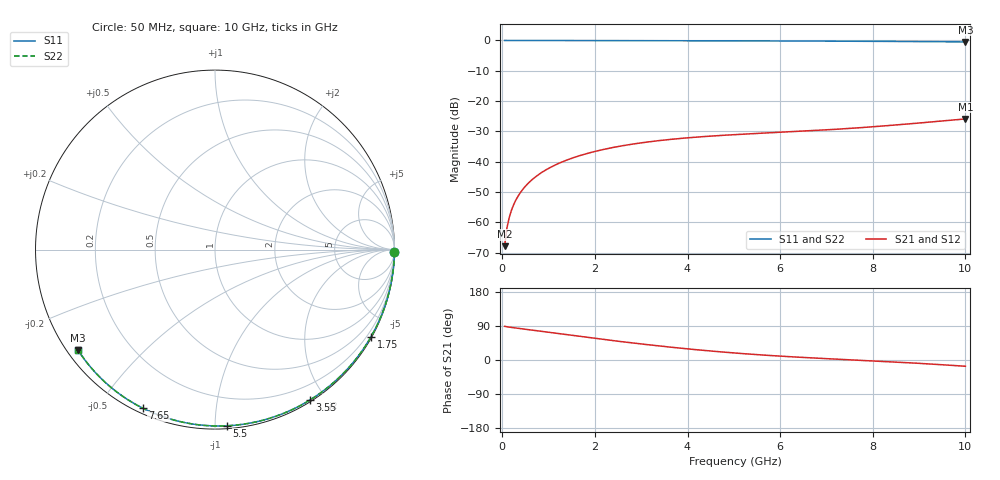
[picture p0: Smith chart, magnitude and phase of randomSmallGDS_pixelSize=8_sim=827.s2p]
! freq	dB(S11)	phase(S11)	dB(S12)	phase(S12)
!  dB(S21)	phase(S21)	dB(S22)	phase(S22)
!S-par simulation data
#  GHz  S  DB  R 50
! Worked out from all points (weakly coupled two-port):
!   200 points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, 50 MHz to 10 GHz, reference 50 ohm
!   highest |S21| = -25.88 dB at 10 GHz (marker M1); lowest = -67.9 dB at 50 MHz (marker M2)
!   lowest |S11| = -0.5 dB at 10 GHz (marker M3), VSWR 36.32, Z = 1.52 - j16.3 ohm
!   |S11| at or under -10 dB: nowhere
!   |S22| runs from -0.5 to 0.0 dB; largest |S21 - S12| = 0
!   S11 on the Smith chart (normalised r, x): 50 MHz: open; 1.75 GHz: 0.03, -3.83; 3.55 GHz: 0.02, -1.82; 5.5 GHz: 0.02, -1.07; 7.65 GHz: 0.02, -0.64; 10 GHz: 0.03, -0.33
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0.05  -0.00 -0.9  -67.85 88.8  -67.85 88.8  -0.00 -0.9
0.1  -0.00 -1.7  -61.86 87.7  -61.86 87.7  -0.00 -1.7
0.15  -0.00 -2.6  -58.38 86.8  -58.38 86.8  -0.00 -2.6
0.2  -0.00 -3.4  -55.91 85.9  -55.91 85.9  -0.00 -3.4
0.25  -0.00 -4.3  -54.00 85.1  -54.00 85.1  -0.00 -4.2
0.35  -0.00 -5.9  -51.12 83.5  -51.12 83.5  -0.00 -5.9
0.5  -0.01 -8.5  -48.07 81.1  -48.07 81.1  -0.01 -8.5
0.7  -0.01 -11.8  -45.19 77.9  -45.19 77.9  -0.01 -11.8
1  -0.02 -16.9  -42.18 73.0  -42.18 73.0  -0.02 -16.8
1.35  -0.03 -22.7  -39.70 67.3  -39.70 67.3  -0.03 -22.6
1.75  -0.04 -29.2  -37.63 61.0  -37.63 61.0  -0.04 -29.2
2.5  -0.05 -41.3  -34.99 49.5  -34.99 49.5  -0.05 -41.3
3.4  -0.07 -55.4  -33.01 36.9  -33.01 36.9  -0.07 -55.4
3.55  -0.08 -57.7  -32.76 35.0  -32.76 35.0  -0.08 -57.7
4.3  -0.10 -68.9  -31.76 25.9  -31.76 25.9  -0.10 -68.9
5.05  -0.12 -79.8  -31.04 18.2  -31.04 18.2  -0.12 -79.7
5.5  -0.14 -86.1  -30.67 14.1  -30.67 14.1  -0.14 -86.0
6.7  -0.20 -102.3  -29.75 5.4  -29.75 5.4  -0.20 -102.2
7.65  -0.26 -114.6  -28.85 -0.2  -28.85 -0.2  -0.26 -114.5
8.35  -0.31 -123.4  -28.06 -4.4  -28.06 -4.4  -0.31 -123.3
9.2  -0.39 -133.9  -26.97 -10.3  -26.97 -10.3  -0.39 -133.9
10  -0.48 -143.8  -25.88 -16.5  -25.88 -16.5  -0.48 -143.8
